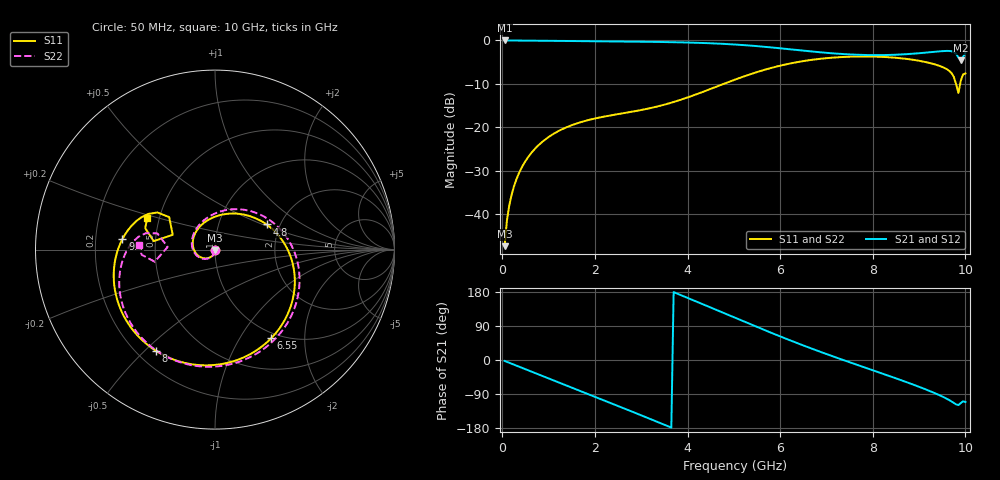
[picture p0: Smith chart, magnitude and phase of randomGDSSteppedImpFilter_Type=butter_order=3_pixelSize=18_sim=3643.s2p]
! freq	dB(S11)	phase(S11)	dB(S12)	phase(S12)
!  dB(S21)	phase(S21)	dB(S22)	phase(S22)
!S-par simulation data
#  GHz  S  DB  R 50
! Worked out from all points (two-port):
!   200 points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, 50 MHz to 10 GHz, reference 50 ohm
!   highest |S21| = 0.00 dB at 50 MHz (marker M1); lowest = -4.5 dB at 9.9 GHz (marker M2)
!   |S21| within 3 dB of the highest: start of sweep to 7.186 GHz; 8.927 GHz to 9.791 GHz (863.3 MHz wide, 9.22 % of centre) (the widest 2 of 3)
!   lowest |S11| = -47.3 dB at 50 MHz (marker M3), VSWR 1.01, Z = 50 - j0.432 ohm
!   |S11| at or under -10 dB: start of sweep to 4.777 GHz; 9.798 GHz to 9.887 GHz (89.08 MHz wide, 0.905 % of centre)
!   |S22| runs from -47.3 to -3.6 dB; largest |S21 - S12| = 0
!   S11 on the Smith chart (normalised r, x): 50 MHz: 1.00, -0.01; 4.8 GHz: 1.70, +0.53; 6.55 GHz: 0.92, -1.38; 8 GHz: 0.28, -0.54; 9.4 GHz: 0.32, +0.05; 10 GHz: 0.43, +0.18
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0.05  -47.28 -90.9  -0.00 -2.5  -0.00 -2.5  -47.33 -91.0
0.1  -41.38 -93.5  -0.01 -4.9  -0.01 -4.9  -41.38 -93.4
0.2  -35.51 -99.1  -0.02 -9.8  -0.02 -9.8  -35.54 -98.3
0.5  -27.74 -115.6  -0.04 -24.3  -0.04 -24.3  -27.75 -114.0
1.15  -21.20 -149.0  -0.10 -55.8  -0.10 -55.8  -21.20 -144.8
1.75  -18.61 -179.7  -0.16 -84.9  -0.16 -84.9  -18.62 -172.8
2.5  -16.93 141.7  -0.23 -121.4  -0.23 -121.4  -16.96 152.3
3.4  -15.04 95.5  -0.35 -165.8  -0.35 -165.8  -15.09 109.2
4.05  -12.92 62.9  -0.49 161.4  -0.49 161.4  -12.97 76.5
4.8  -9.90 26.0  -0.80 123.0  -0.80 123.0  -9.93 37.5
5.05  -8.91 13.7  -0.95 110.2  -0.95 110.2  -8.92 24.5
5.7  -6.63 -17.9  -1.49 77.1  -1.49 77.1  -6.63 -8.9
6.55  -4.66 -57.7  -2.40 36.1  -2.40 36.1  -4.65 -49.9
6.7  -4.43 -64.5  -2.56 29.2  -2.56 29.2  -4.42 -56.7
7.35  -3.80 -92.7  -3.12 0.5  -3.12 0.5  -3.78 -85.0
8  -3.70 -120.2  -3.37 -27.1  -3.37 -27.1  -3.66 -111.7
8.35  -3.87 -135.2  -3.34 -41.9  -3.34 -41.9  -3.82 -125.9
9.4  -5.70 173.4  -2.55 -90.7  -2.55 -90.7  -5.59 -171.6
9.75  -8.36 147.2  -2.66 -113.3  -2.66 -113.3  -8.04 166.7
9.85  -12.06 160.7  -3.92 -118.9  -3.92 -118.9  -11.57 176.7
9.9  -9.25 172.1  -4.53 -113.6  -4.53 -113.6  -9.31 -168.6
10  -7.60 154.8  -2.91 -110.9  -2.91 -110.9  -7.49 176.9
